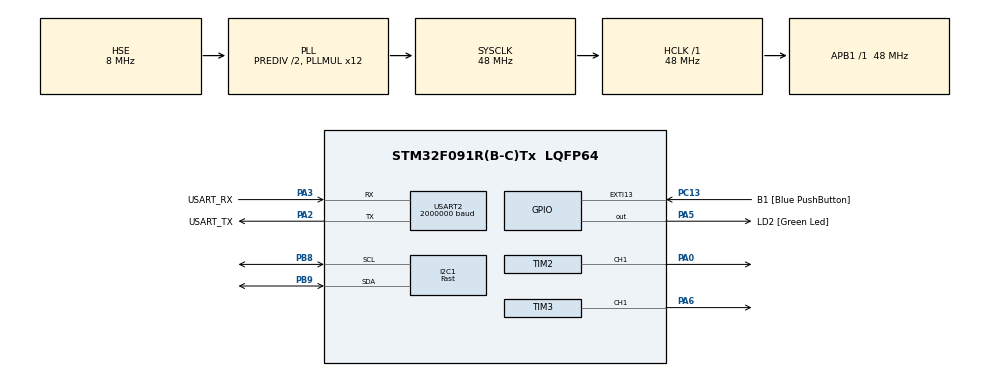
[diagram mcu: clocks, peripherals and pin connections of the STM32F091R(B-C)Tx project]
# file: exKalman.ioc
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Mcu.Family=STM32F0
RCC.PLLSourceVirtual=RCC_PLLSOURCE_HSE
PA2.GPIO_PuPd=GPIO_NOPULL
I2C1.I2C_Speed_Mode=I2C_Fast
PC15OSC32_OUT.Signal=RCC_OSC32_OUT
PC13.Signal=GPXTI13
VP_IWDG_VS_IWDG.Mode=IWDG_Activate
PA14.GPIO_Label=TCK
USART2.Parity=PARITY_NONE
PA3.GPIO_PuPd=GPIO_NOPULL
PA2.GPIO_Speed=GPIO_SPEED_FREQ_LOW
PC13.GPIO_Label=B1 [Blue PushButton]
PC15OSC32_OUT.Mode=LSE-External-Oscillator
PA3.GPIO_Speed=GPIO_SPEED_FREQ_LOW
PA5.PinState=GPIO_PIN_RESET
NVIC.USART2_IRQn=true\:0\:0\:false\:false\:true\:true\:true
USART2.BaudRate=2000000
RCC.SYSCLKSource=RCC_SYSCLKSOURCE_PLLCLK
ProjectManager.StackSize=0x400
PA3.Mode=Asynchronous
PA13.Signal=SYS_SWDIO
ProjectManager.TargetToolchain=STM32CubeIDE
PA3.GPIO_Mode=GPIO_MODE_AF_PP
RCC.HCLKFreq_Value=48000000
PB9.Mode=I2C
TIM3.Period=20000
I2C1.Timing=0x2010091A
RCC.PLLDivider=RCC_PREDIV_DIV2
RCC.AHBFreq_Value=48000000
PF0-OSC_IN.Mode=HSE-External-Clock-Source
TIM3.Channel-PWM\ Generation1\ CH1=TIM_CHANNEL_1
RCC.PREFETCH_ENABLE-AdvancedSettings=1
PA5.Signal=GPIO_Output
board=NUCLEO-F091RC
USART2.VirtualMode-Asynchronous=VM_ASYNC
RCC.PLLMUL=RCC_PLL_MUL12
PA14.Mode=Serial_Wire
TIM3.Prescaler=48-1
PA5.GPIO_PuPd=GPIO_NOPULL
PC13.GPIO_PuPd=GPIO_PULLDOWN
RCC.I2c1ClockSelection=RCC_I2C1CLKSOURCE_SYSCLK
TIM2.Channel-PWM\ Generation1\ CH1=TIM_CHANNEL_1
SH.S_TIM3_CH1.0=TIM3_CH1,PWM Generation1 CH1
TIM2.Period=20000
PA13.Mode=Serial_Wire
Mcu.Name=STM32F091R(B-C)Tx
PA2.Signal=USART2_TX
PA13.GPIO_Label=TMS
PA0.Signal=S_TIM2_CH1_ETR
RCC.FLatency-AdvancedSettings=FLASH_LATENCY_1
PC14OSC32_IN.Mode=LSE-External-Oscillator
RCC.SYSCLKFreq_VALUE=48000000
Mcu.Package=LQFP64
PB9.Signal=I2C1_SDA
TIM2.Prescaler=48-1
PA6.Signal=S_TIM3_CH1
PA5.GPIO_Label=LD2 [Green Led]
PC13.GPIO_ModeDefaultEXTI=GPIO_MODE_IT_FALLING
USART2.VirtualMode=VM_ASYNC
PA2.GPIO_Label=USART_TX
SH.S_TIM2_CH1_ETR.0=TIM2_CH1,PWM Generation1 CH1
IWDG.Reload=2500
PA14.Signal=SYS_SWCLK
ProjectManager.HeapSize=0x200
PA5.GPIO_Speed=GPIO_SPEED_FREQ_HIGH
PB8.Mode=I2C
IWDG.Prescaler=IWDG_PRESCALER_16
RCC.APB1TimFreq_Value=48000000
PA2.Mode=Asynchronous
PB8.Signal=I2C1_SCL
PF0-OSC_IN.Signal=RCC_OSC_IN
RCC.APB1Freq_Value=48000000
USART2.Mode=MODE_TX
PA5.GPIO_Mode=GPIO_MODE_OUTPUT_PP
PF1-OSC_OUT.Signal=RCC_OSC_OUT
NVIC.EXTI4_15_IRQn=true\:0\:0\:false\:false\:true\:true\:true
PC14OSC32_IN.Signal=RCC_OSC32_IN
PA3.GPIO_Label=USART_RX
PA3.Signal=USART2_RX
PA2.GPIO_Mode=GPIO_MODE_AF_PP

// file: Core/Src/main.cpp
/* USER CODE BEGIN Header */
/**
 ******************************************************************************
 * @file           : main.c
 * @brief          : Main program body
 ******************************************************************************
 * @attention
 *
 * <h2><center>&copy; Copyright (c) 2023 STMicroelectronics.
 * All rights reserved.</center></h2>
 *
 * This software component is licensed by ST under BSD 3-Clause license,
 * the "License"; You may not use this file except in compliance with the
 * License. You may obtain a copy of the License at:
 *                        opensource.org/licenses/BSD-3-Clause
 *
 ******************************************************************************
 */
/* USER CODE END Header */
#include <main.h>
#include "i2c.h"
#include "usart.h"
#include "gpio.h"
#include "tim.h"
#include "iwdg.h"

/* USER CODE BEGIN Includes */
#include <MPU6050.hpp>
#include <MEKFcRP.hpp>
#include <PID.hpp>
#include "string.h"
#include "stdio.h"
#include "math.h"

/* USER CODE END Includes */

/* USER CODE BEGIN PV */

/* Sensors */
MPU6050_t MPU6050;

/* Kalman filter */
MEKFcRP kal;

/* Definitions */
float KAL_Qw = 1;
float KAL_Qa = 0.01;
float KAL_Rw = 1e-8;
float KAL_Ra = 1e-8;
const bool CALC_EN = true;
const bool PID_EN = true;
const bool TEAPOT_EN = false;
const uint32_t CALC_TIME = 0;
const uint32_t PID_TIME = 0;
const uint32_t TEAPOT_TIME = 20;

/* Variables */
uint32_t cur_tick;
uint32_t calc_dt, calc_lst;
uint32_t pid_dt, pid_lst;
uint32_t teapot_lst;
volatile uint32_t cnt = 0;

/* Flags */
volatile uint8_t recalc_filters_flag;

/* USER CODE END PV */

void SystemClock_Config(void);
/* USER CODE BEGIN PFP */
static void Reset_Filters(void);
/* USER CODE END PFP */

/* USER CODE BEGIN 0 */

uint16_t init_tim;

float quat_f[4];
int16_t quat[4];
uint8_t teapotPacket[14] = { '$', 0x02, 0, 0, 0, 0, 0, 0, 0, 0, 0x00, 0x00, '\r', '\n' };

float zyx[3], zxy[3];
float measurement[2];

PIDController pid[2];
float target[2] = {0, 0};
float pid_kp[2] = {4, 3};
float pid_ki[2] = {0, 0};
float pid_kd[2] = {0, -50};
float pid_tau[2] = {0.02, 1};
float pid_lim_min[2] = {-1000, -90};
float pid_lim_max[2] = {+1000, +90};
float pid_lim_int_min[2] = {-300, -30};
float pid_lim_int_max[2] = {+300, +30};
float pid_res[2];

uint16_t servo_val[2] = {1500, 1500};

void calc_zyx();
void calc_zxy();
float mapArduino(float val, float I_Min, float I_Max, float O_Min, float O_Max);

uint16_t sim_pos = 0;
float sim_len = 12;
float sim_steps[] = {0, +45, -90, +45, -90, 0, 20, -40, 0, 10, 0, 0};
bool sim_enable = false;
uint32_t sim_lst;
uint16_t sim_out;
uint16_t sim_dt = 500;
uint16_t sim_print_lst;
uint16_t sim_print_dt = 10;

volatile bool global_reset = false;

/* USER CODE END 0 */

int main(void) {

	/* MCU Configuration--------------------------------------------------------*/

	/* Reset of all peripherals, Initializes the Flash interface and the Systick. */
	HAL_Init();

	/* Configure the system clock */
	SystemClock_Config();

	/* Initialize all configured peripherals */
	MX_GPIO_Init();
	MX_USART2_UART_Init();
	MX_I2C1_Init();
	MX_IWDG_Init();
	MX_TIM3_Init();
	MX_TIM2_Init();
	/* USER CODE BEGIN 2 */

	while (MPU6050_Init(&hi2c1));
//	MPU6050_Calc_Gyro_Bias(&hi2c1, &MPU6050);
	Reset_Filters();

	__HAL_TIM_SET_COMPARE(&htim3, TIM_CHANNEL_1, servo_val[0]);
	HAL_TIM_PWM_Start(&htim3, TIM_CHANNEL_1);

	__HAL_TIM_SET_COMPARE(&htim2, TIM_CHANNEL_1, servo_val[1]);
	HAL_TIM_PWM_Start(&htim2, TIM_CHANNEL_1);

	for(int i = 0; i < 2; i++){

		pid[i] = (PIDController) {
			pid_kp[i], pid_ki[i], pid_kd[i], pid_tau[i],
			pid_lim_min[i], pid_lim_max[i],
			pid_lim_int_min[i], pid_lim_int_max[i],
			15 * 0.001
		};

		PIDController_Init(&pid[i]);
	}

	HAL_IWDG_Refresh(&hiwdg);

//	while(true){
//		MPU6050_Calc_Gyro_Bias(&hi2c1, &MPU6050);
//		MPU6050_Read_All(&hi2c1, &MPU6050);
//		printf("%f %f %f %f\r\n", MPU6050.Temperature, MPU6050.Gx_bias, MPU6050.Gy_bias, MPU6050.Gz_bias);
////		HAL_IWDG_Refresh(&hiwdg);
//	}

	/* USER CODE END 2 */

	/* Infinite loop */
	/* USER CODE BEGIN WHILE */

	init_tim = HAL_GetTick();
	calc_lst = init_tim;
	teapot_lst = init_tim;
	pid_lst = init_tim + 2000;

	while (1) {
		/* USER CODE END WHILE */

		/* USER CODE BEGIN 3 */

		if(global_reset){
			NVIC_SystemReset();
		}

		if (recalc_filters_flag) {
			recalc_filters_flag = 0;
			Reset_Filters();
		}

		cur_tick = HAL_GetTick();

		if(CALC_EN) if (cur_tick - calc_lst >= CALC_TIME) {

			auto status = MPU6050_Read_All(&hi2c1, &MPU6050);

			if(status == HAL_OK){

				calc_dt = cur_tick - calc_lst;
				calc_lst = cur_tick;

				float am[] = {MPU6050.Ax, MPU6050.Ay, MPU6050.Az};
				float wm[] = {MPU6050.Gx, MPU6050.Gy, MPU6050.Gz};
				kal.updateIMU(am, wm, calc_dt * 0.001f);

				if (++cnt % 50 == 0) {
					HAL_GPIO_TogglePin(LD2_GPIO_Port, LD2_Pin);
				}

				HAL_IWDG_Refresh(&hiwdg);
			}
		}

		if(!sim_enable) if(PID_EN) if (cur_tick > PID_TIME + pid_lst){

			pid_dt = cur_tick - pid_lst;
			pid_lst = cur_tick;
			kal.get_q(quat_f);
			calc_zyx();
			calc_zxy();

			if(pid_dt > 20){
				pid_dt = 20;
			}

			measurement[0] = -zyx[1];
			measurement[1] = -zxy[1];

			for(int i = 0; i < 2; i++){
		        PIDController_Update(&pid[i], target[i], measurement[i], pid_dt, i==0);
			}

			pid_res[0] += pid[0].out * (pid_dt * 0.001);
			pid_res[1] = -pid[1].out;

			if(pid_res[0] > 90){
				pid_res[0] = 90;
			}
			else if(pid_res[0] < -90){
				pid_res[0] = -90;
			}

			servo_val[0] = (uint16_t) mapArduino(pid_res[0], -90, +90, 500, 2500);
			__HAL_TIM_SET_COMPARE(&htim3, TIM_CHANNEL_1, servo_val[0]);

//			servo_val[1] = (uint16_t) mapArduino(pid_res[1], -90, +90, 1000+25, 2000-25);
//			servo_val[1] += servo_val[1] >= 1500 ? +25 : -25;
//			__HAL_TIM_SET_COMPARE(&htim2, TIM_CHANNEL_1, servo_val[1]);

			servo_val[1] = (uint16_t) mapArduino(pid_res[1], -90, +90, 1000, 2000);
			__HAL_TIM_SET_COMPARE(&htim2, TIM_CHANNEL_1, servo_val[1]);

//			printf("%f %f %f \n", zyx[0], zyx[1], zyx[2]);
//			printf("%f %f %f \n", zxy[0], zxy[1], zxy[2]);
//			printf("%f %f %d %f %f \n", zyx[1], zxy[1], servo_val[0], error[0], pid[0]);

//			printf("%d %f %f %f\n", (int)cur_tick, target[0], pid[0].prevError, pid[0].out);
//			printf("%d %f %f %f %f %f %f\n", (int)cur_tick, target[1], pid[1].prevError, pid[1].out, pid[1].differentiator, pid[1].proportional, measurement[1]);
//			printf("%f %f %f\n", target[1], measurement[1], pid[1].out);

			printf("%f %f\n", measurement[0], measurement[1]);
		}

//		if(sim_enable){
//
//			if(cur_tick-sim_lst > sim_dt){
//
//				sim_pos++;
//				sim_lst = cur_tick;
//
//				if(sim_pos==sim_len){
//					sim_pos = 0;
//					sim_enable = false;
//				}
//				else{
//					sim_out = (uint16_t) mapArduino(sim_steps[sim_pos], -90, +90, 1000+25, 2000-25);
//					sim_out += sim_out >= 1500 ? +25 : -25;
//					__HAL_TIM_SET_COMPARE(&htim2, TIM_CHANNEL_1, sim_out);
//				}
//			}
//
//			if(cur_tick-sim_print_lst > sim_print_dt){
//				sim_print_lst= cur_tick;
//				kal.get_q(quat_f);
//				calc_zxy();
//				printf("%f %f\n", sim_steps[sim_pos], -zxy[1]);
//			}
//		}

//		if(TEAPOT_EN) if (cur_tick - teapot_lst > TEAPOT_TIME) {
//
//			teapot_lst = cur_tick;
//
//			kal.get_q(quat_f);
//
//			quat[0] = ((int16_t)(quat_f[0] * (1<<14)));
//			quat[1] = ((int16_t)(quat_f[1] * (1<<14)));
//			quat[2] = ((int16_t)(quat_f[2] * (1<<14)));
//			quat[3] = ((int16_t)(quat_f[3] * (1<<14)));
//
//			teapotPacket[2] = (quat[0] >> 8) & 0xffff;
//			teapotPacket[3] = (quat[0] >> 0) & 0xffff;
//			teapotPacket[4] = (quat[1] >> 8) & 0xffff;
//			teapotPacket[5] = (quat[1] >> 0) & 0xffff;
//			teapotPacket[6] = (quat[2] >> 8) & 0xffff;
//			teapotPacket[7] = (quat[2] >> 0) & 0xffff;
//			teapotPacket[8] = (quat[3] >> 8) & 0xffff;
//			teapotPacket[9] = (quat[3] >> 0) & 0xffff;
//
//			teapotPacket[10] = calc_dt;
//			teapotPacket[11] = 0;
//
//			HAL_UART_Transmit(&huart2, teapotPacket, sizeof(teapotPacket), 1000);
//		}
	}

	/* USER CODE END 3 */
}

void SystemClock_Config(void) {
	RCC_OscInitTypeDef RCC_OscInitStruct = { 0 };
	RCC_ClkInitTypeDef RCC_ClkInitStruct = { 0 };
	RCC_PeriphCLKInitTypeDef PeriphClkInit = { 0 };

	/** Initializes the RCC Oscillators according to the specified parameters
	 * in the RCC_OscInitTypeDef structure.
	 */
	RCC_OscInitStruct.OscillatorType = RCC_OSCILLATORTYPE_HSE;
	RCC_OscInitStruct.HSEState = RCC_HSE_BYPASS;
	RCC_OscInitStruct.PLL.PLLState = RCC_PLL_ON;
	RCC_OscInitStruct.PLL.PLLSource = RCC_PLLSOURCE_HSE;
	RCC_OscInitStruct.PLL.PLLMUL = RCC_PLL_MUL12;
	RCC_OscInitStruct.PLL.PREDIV = RCC_PREDIV_DIV2;
	if (HAL_RCC_OscConfig(&RCC_OscInitStruct) != HAL_OK) {
		Error_Handler();
	}
	/** Initializes the CPU, AHB and APB buses clocks
	 */
	RCC_ClkInitStruct.ClockType = RCC_CLOCKTYPE_HCLK | RCC_CLOCKTYPE_SYSCLK | RCC_CLOCKTYPE_PCLK1;
	RCC_ClkInitStruct.SYSCLKSource = RCC_SYSCLKSOURCE_PLLCLK;
	RCC_ClkInitStruct.AHBCLKDivider = RCC_SYSCLK_DIV1;
	RCC_ClkInitStruct.APB1CLKDivider = RCC_HCLK_DIV1;

	if (HAL_RCC_ClockConfig(&RCC_ClkInitStruct, FLASH_LATENCY_1) != HAL_OK) {
		Error_Handler();
	}
	PeriphClkInit.PeriphClockSelection = RCC_PERIPHCLK_USART2 | RCC_PERIPHCLK_I2C1;
	PeriphClkInit.Usart2ClockSelection = RCC_USART2CLKSOURCE_PCLK1;
	PeriphClkInit.I2c1ClockSelection = RCC_I2C1CLKSOURCE_SYSCLK;
	if (HAL_RCCEx_PeriphCLKConfig(&PeriphClkInit) != HAL_OK) {
		Error_Handler();
	}
}

/* USER CODE BEGIN 4 */

static void Reset_Filters(void) {
	/* Initialize Kalman filter */
	kal.reset_orientation();
	kal.set_Qa(KAL_Qa);
	kal.set_Qw(KAL_Qw);
	kal.set_Ra(KAL_Ra);
	kal.set_Rw(KAL_Rw);
	kal.set_W0(0.04);
	kal.set_chartUpdate(true);
}

float atan2d_snf(float u0, float u1) {

	float y;
	int32_t u0_0;
	int32_t u1_0;

	if (isnan(u0) || isnan(u1)) {
		y = nan("");
	} else if (isinf(u0) && isinf(u1)) {
		if (u0 > 0.0) {
			u0_0 = 1;
		} else {
			u0_0 = -1;
		}
		if (u1 > 0.0) {
			u1_0 = 1;
		} else {
			u1_0 = -1;
		}
		y = atan2(u0_0, u1_0);
	} else if (u1 == 0.0) {
		if (u0 > 0.0) {
			y = PI / 2.0;
		} else if (u0 < 0.0) {
			y = -(PI / 2.0);
		} else {
			y = 0.0;
		}
	} else {
		y = atan2(u0, u1);
	}

	return y;
}

void calc_zyx(){

	float u0 = -2 * (quat_f[1]*quat_f[3]-quat_f[0]*quat_f[2]);

	if (u0 > 1.0) {
		u0 = 1.0;
	} else {
		if (u0 < -1.0) {
			u0 = -1.0;
		}
	}
//	zyx[0] = atan2d_snf(2*(quat_f[1]*quat_f[2]+quat_f[0]*quat_f[3]), quat_f[0]*quat_f[0]+quat_f[1]*quat_f[1]-quat_f[2]*quat_f[2]-quat_f[3]*quat_f[3]);
	zyx[1] = asin(u0);
//	zyx[2] = atan2d_snf(2*(quat_f[2]*quat_f[3]+quat_f[0]*quat_f[1]), quat_f[0]*quat_f[0]-quat_f[1]*quat_f[1]-quat_f[2]*quat_f[2]+quat_f[3]*quat_f[3]);

	for(uint8_t i = 0; i < 3; i++){
		zyx[i] *= RAD_TO_DEG;
	}
}

void calc_zxy(){

	float u0 = 2 * (quat_f[2]*quat_f[3] + quat_f[0]*quat_f[1]);

	if (u0 > 1.0) {
		u0 = 1.0;
	} else {
		if (u0 < -1.0) {
			u0 = -1.0;
		}
	}
//	zxy[0] = atan2d_snf(-2*(quat_f[1]*quat_f[2]-quat_f[0]*quat_f[3]), quat_f[0]*quat_f[0]-quat_f[1]*quat_f[1]+quat_f[2]*quat_f[2]-quat_f[3]*quat_f[3]);
	zxy[1] = asin(u0);
//	zxy[2] = atan2d_snf(-2*(quat_f[1]*quat_f[3]-quat_f[0]*quat_f[2]), quat_f[0]*quat_f[0]-quat_f[1]*quat_f[1]-quat_f[2]*quat_f[2]+quat_f[3]*quat_f[3]);

	for(uint8_t i = 0; i < 3; i++){
		zxy[i] *= RAD_TO_DEG;
	}
}

float mapArduino(float val, float I_Min, float I_Max, float O_Min, float O_Max) {
    return (((val - I_Min) * ((O_Max - O_Min) / (I_Max - I_Min))) + O_Min);
}

/* USER CODE END 4 */

void Error_Handler(void) {
	__disable_irq();
	while (1) {
	}
}

/************************ (C) COPYRIGHT STMicroelectronics *****END OF FILE****/
